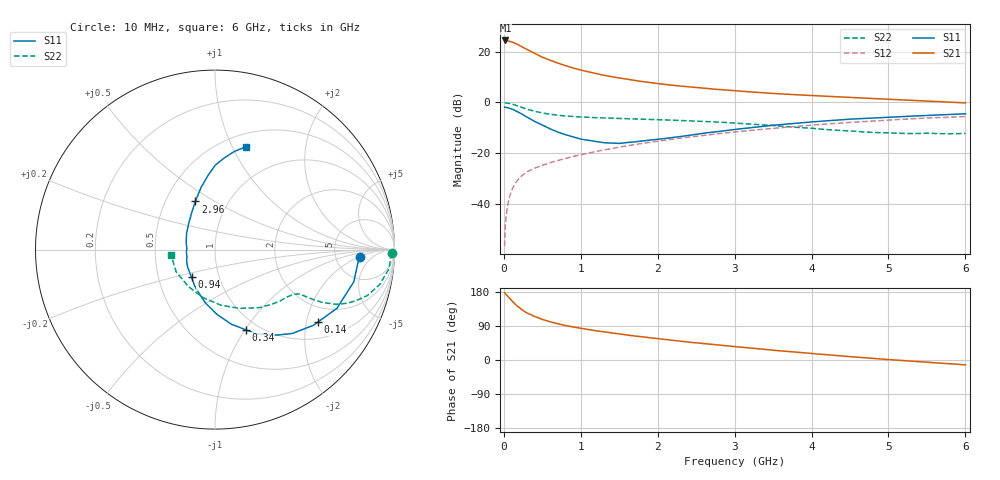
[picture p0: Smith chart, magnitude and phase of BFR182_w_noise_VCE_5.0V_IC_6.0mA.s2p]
! Infineon Technologies  Discrete & RF Semiconductors
! BFR182
! VCE =  5.0 V,  IC =  6.0 mA
! Common Emitter S-Parameters:  Nov 2015
# GHz  S  MA  R  50
!  f  S11  S21  S12  S22
! GHz  MAG  ANG  MAG  ANG  MAG  ANG  MAG  ANG
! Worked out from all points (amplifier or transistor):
!   210 points, 10 MHz to 6 GHz, reference 50 ohm
!   highest |S21| = 24.4 dB at 20 MHz (marker M1)
!   |S21| within 3 dB of that: start of sweep to 267.5 MHz
!   unconditionally stable (mu >= 1): 996.8 MHz to 2.808 GHz
!   at 185 MHz: K = 0.37, MSG = 26.5 dB, |S12| = -30.3 dB
!   at 1.52 GHz: K = 1.05, MAG = 12.1 dB, |S12| = -17.5 dB
!   at 6 GHz: K = 0.88, MSG = 2.7 dB, |S12| = -5.6 dB
!   lowest NFmin = 1.20 dB at 450 MHz
!   S11 on the Smith chart (normalised r, x): 10 MHz: 8.99, -2.05; 140 MHz: 1.48, -2.35; 340 MHz: 0.87, -1.01; 940 MHz: 0.74, -0.24; 2.96 GHz: 0.70, +0.41; 6 GHz: 0.63, +1.14
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0.01  0.8088 -2.8  16.54 177.5  0.0015 92.1  0.9879 -1.2
0.02  0.8002 -5.1  16.57 174.8  0.0039 86.7  0.9798 -2.6
0.05  0.7938 -13.1  16.35 168.1  0.0096 83.8  0.9753 -6.3
0.1  0.754 -25.7  15.54 157.2  0.0186 77.6  0.9387 -11.9
0.14  0.7022 -35.0  14.72 148.5  0.0245 72.2  0.8962 -15.8
0.2  0.6356 -47.3  13.3 138.1  0.0324 68.7  0.8345 -20.0
0.24  0.5882 -54.1  12.33 132.1  0.0371 65.9  0.796 -22.0
0.3  0.5174 -64.5  11.08 124.1  0.043 64.4  0.7398 -24.3
0.34  0.4779 -69.1  10.31 120.8  0.0462 63.5  0.7116 -25.0
0.4  0.4258 -77.6  9.235 114.9  0.0509 62.4  0.6695 -26.2
0.5  0.3603 -88.4  7.765 107.0  0.0582 61.6  0.6227 -26.8
0.6  0.3034 -99.8  6.763 100.8  0.0655 61.8  0.5872 -27.2
0.8  0.2336 -118.6  5.294 91.0  0.0794 62.6  0.5429 -27.6
0.94  0.2022 -130.1  4.586 85.8  0.0898 63.3  0.5257 -28.1
1.02  0.1884 -138.7  4.269 83.0  0.0954 63.4  0.5178 -28.5
1.4  0.16 -175.8  3.212 71.4  0.1243 63.9  0.4911 -31.5
2.02  0.1898 144.2  2.336 56.0  0.1753 61.8  0.4602 -38.7
2.96  0.2898 112.2  1.72 36.1  0.2596 55.5  0.3979 -54.6
3.1  0.3067 109.2  1.659 33.5  0.2727 54.1  0.3852 -57.6
4.1  0.4257 94.2  1.346 15.5  0.368 44.0  0.3018 -87.4
5.1  0.5224 83.0  1.14 -0.2  0.4606 32.1  0.2492 -130.5
6  0.5997 73.1  0.982 -12.8  0.5277 19.5  0.2472 -173.5
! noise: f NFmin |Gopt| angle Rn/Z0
0.45  1.2  0.27  37  0.3
0.9  1.3  0.25  75  0.23
1.8  1.9  0.21  145  0.2
